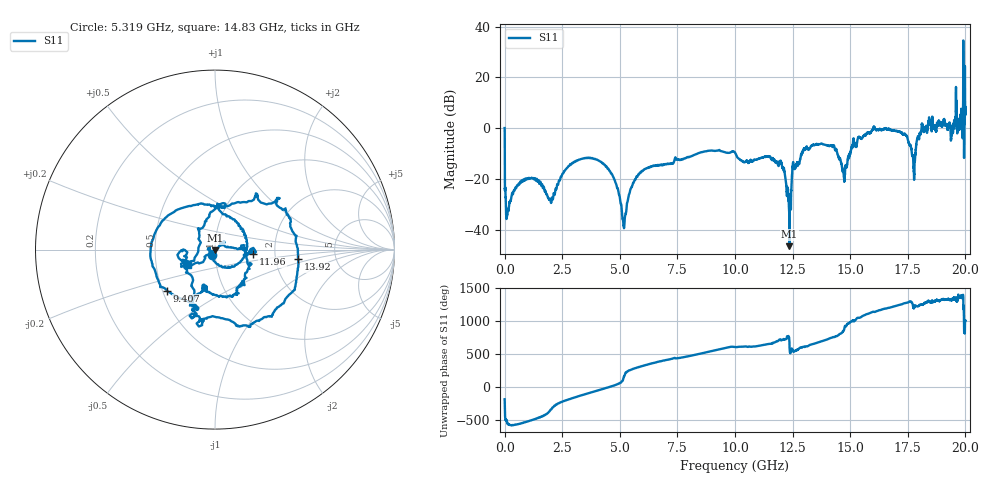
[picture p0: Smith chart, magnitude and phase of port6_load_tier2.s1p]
! Created with skrf 1.8.0 (http://scikit-rf.org).
# GHz S RI R 50.0
!freq ReS11 ImS11
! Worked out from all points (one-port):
!   10001 points, 1 MHz to 20 GHz, reference 50 ohm
!   lowest |S11| = -46.5 dB at 12.36 GHz (marker M1), VSWR 1.01, Z = 50.1 - j0.464 ohm
!   |S11| at or under -10 dB: 8.649 MHz to 8.386 GHz (8.377 GHz wide, 200 % of centre); 10.02 GHz to 12.89 GHz (2.872 GHz wide, 25.1 % of centre); 14.44 GHz to 14.98 GHz (538.2 MHz wide, 3.66 % of centre) (the widest 3 of 8)
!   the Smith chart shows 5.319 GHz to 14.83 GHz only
!   S11 on the Smith chart (normalised r, x): 5.319 GHz: 0.96, -0.06; 9.407 GHz: 0.53, -0.27; 11.96 GHz: 1.54, -0.08; 13.92 GHz: 2.69, -0.35; 14.83 GHz: 0.72, -0.13
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0.001  -1.001 -0.00222
0.1509925  -0.0238 0.00636
2.500875  -0.0973 0.0742
4.0108  0.1506 -0.1852
5.00075  0.0182 0.0388
5.318734  -0.0171 -0.029
7.500625  0.0404 0.2376
9.40653  -0.2672 -0.2279
10.0005  -0.1212 -0.3081
11.9604  0.2138 -0.0246
12.36438  0.000839 -0.00463
12.50038  -0.1565 -0.0621
13.9243  0.4635 -0.0513
14.83426  -0.1531 -0.0882
15.00025  -0.0217 -0.317
15.68222  0.7045 0.253
16.35018  -0.0462 0.9096
17.03615  -0.7973 0.3598
17.50013  -0.5543 -0.2129
17.75611  -0.0594 0.1263
17.9661  -0.5434 0.3492
18.39808  -0.8547 -0.8168
19.57402  -0.6085 -1.534
19.79801  0.6472 -1.326
19.80801  0.4979 -1.737
19.81801  1.204 -2.087
19.87601  0.1417 -0.8223
20  0.5651 -1.932
